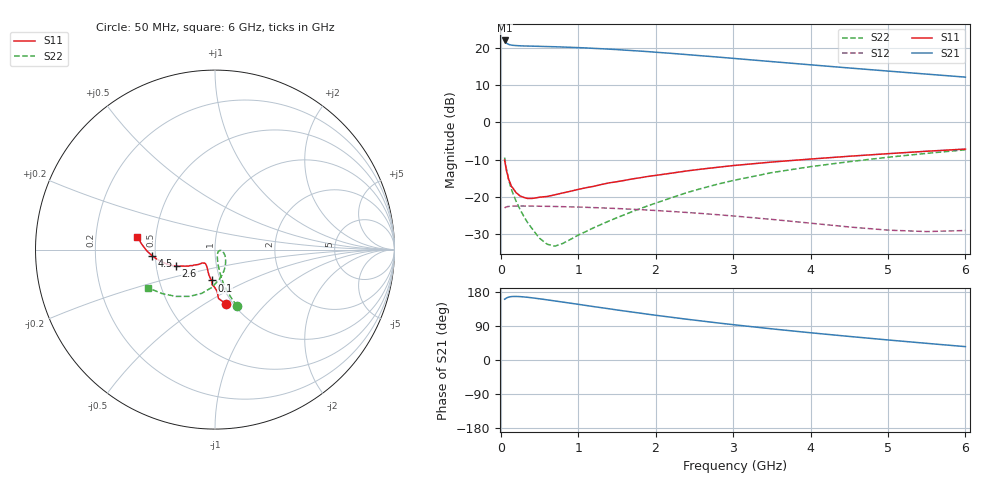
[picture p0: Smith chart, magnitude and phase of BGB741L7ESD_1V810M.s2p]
! (c) 2009  Infineon Technologies AG, Munich
!  Infineon Technologies AG
!  BGB741L7ESD
!  Vce = 1.8V, Ic = 10.0mA
!  DATUM: 30.06.2009 10:08:07
# GHz  S  MA  R  50
!f  S11  S21  S12  S22
!GHz  Mag  Ang  Mag  Ang  Mag  Ang  Mag  Ang
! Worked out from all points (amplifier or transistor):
!   44 points, 50 MHz to 6 GHz, reference 50 ohm
!   highest |S21| = 22.1 dB at 50 MHz (marker M1)
!   |S21| within 3 dB of that: start of sweep to 1.894 GHz
!   unconditionally stable (mu >= 1): 204.4 MHz to end of sweep
!   at 120 MHz: K = 0.97, MSG = 21.8 dB, |S12| = -22.6 dB
!   at 1 GHz: K = 1.03, MAG = 20.4 dB, |S12| = -22.8 dB
!   at 6 GHz: K = 2.22, MAG = 14.4 dB, |S12| = -29.1 dB
!   lowest NFmin = 0.98 dB at 450 MHz
!   S11 on the Smith chart (normalised r, x): 50 MHz: 0.93, -0.63; 100 MHz: 0.91, -0.32; 2.6 GHz: 0.63, -0.13; 4.5 GHz: 0.48, -0.04; 6 GHz: 0.39, +0.07
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0.05  0.3113 -78.2  12.77 160.4  0.07028 19.5  0.3368 -68.6
0.06  0.2725 -85.9  12.26 161.6  0.07185 16.5  0.2858 -71.3
0.07  0.2348 -86.9  11.88 163.1  0.07252 14.2  0.2476 -73.4
0.1  0.1729 -95.9  11.32 165.7  0.07357 9.7  0.1751 -76.6
0.15  0.1335 -106.5  11 167.6  0.07457 5.8  0.1161 -78.2
0.2  0.1127 -112.2  10.9 167.7  0.07469 3.7  0.08592 -78.4
0.3  0.09741 -121.2  10.77 166.4  0.07474 1.1  0.0539 -75.2
0.5  0.09821 -129.6  10.64 161.5  0.07433 -1.9  0.02757 -58.9
0.7  0.106 -134.3  10.51 155.8  0.0737 -4.0  0.02149 -30.4
1.1  0.1318 -140.3  10.12 143.9  0.07183 -7.5  0.03383 -7.6
1.4  0.1534 -144.4  9.752 135.1  0.06989 -9.6  0.04702 -17.2
1.6  0.1658 -147.4  9.463 129.3  0.06836 -11.0  0.05717 -25.4
1.9  0.1873 -150.5  9.035 120.8  0.06598 -12.7  0.07529 -38.6
2.2  0.207 -153.7  8.563 112.9  0.0632 -14.1  0.0963 -52.2
2.6  0.2357 -156.7  7.927 102.8  0.05923 -15.6  0.1296 -67.7
3  0.2625 -160.7  7.329 93.3  0.05495 -16.4  0.1651 -80.8
3.5  0.2928 -165.1  6.624 82.2  0.04935 -16.1  0.2109 -94.6
4  0.3215 -169.6  5.995 71.9  0.0439 -13.9  0.2539 -106.6
4.5  0.3506 -174.1  5.434 62.2  0.039 -9.2  0.2963 -118.4
5  0.3798 -178.9  4.938 52.9  0.03535 -1.5  0.3398 -129.9
5.5  0.4097 175.8  4.492 44.0  0.03381 8.8  0.3835 -140.3
6  0.4384 170.5  4.091 35.3  0.03494 19.8  0.4282 -150.0
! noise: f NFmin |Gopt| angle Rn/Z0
0.45  0.98  0.04  152  0.13
0.9  1  0.06  126  0.13
1.8  1.04  0.08  120  0.22
2.4  1.07  0.1  119  0.29
3  1.12  0.12  135  0.2
5.5  1.75  0.17  172  0.16
